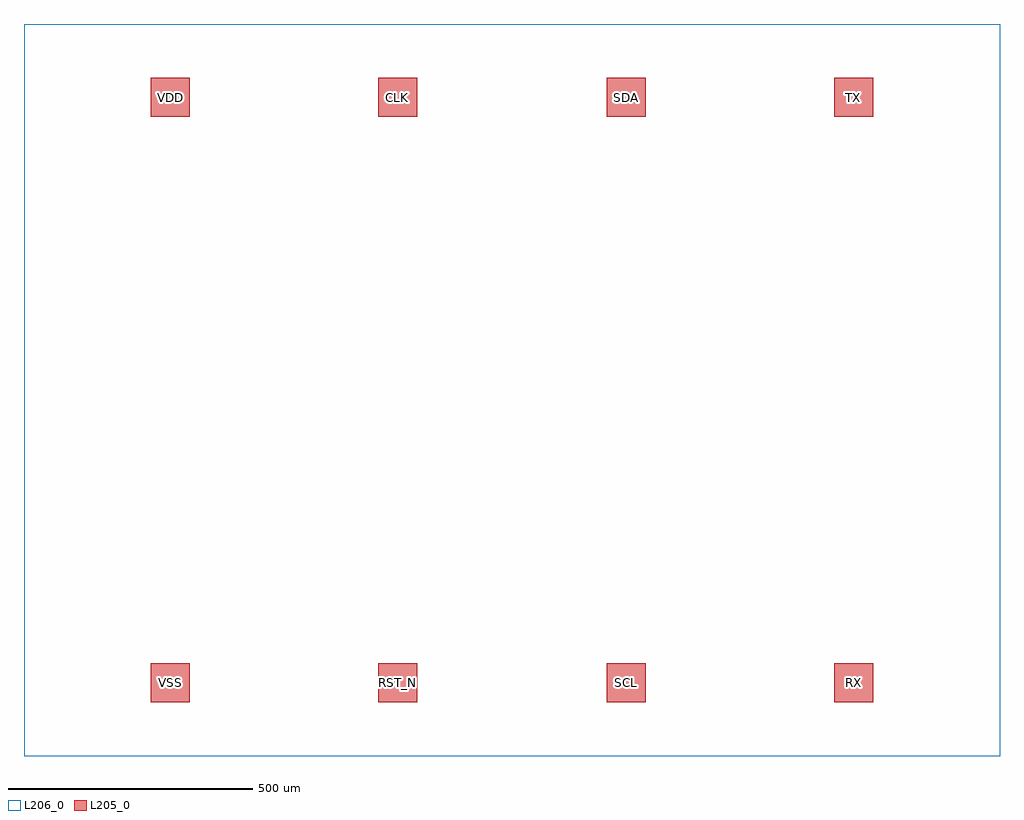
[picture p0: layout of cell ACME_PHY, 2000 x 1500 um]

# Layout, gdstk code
import gdstk
lib = gdstk.Library(unit=1e-6, precision=1e-09)
def R(c, l, rs):  # rectangles x0, y0, x1, y1
    for r in rs: c.add(gdstk.rectangle(r[:2], r[2:], *l))
L205_0 = (205, 0)
L206_0 = (206, 0)

acme_phy = lib.new_cell('ACME_PHY')
R(acme_phy, L205_0, [(-740,-640,-660,-560), (-274,-640,-194,-560), (194,-640,274,-560), (660,-640,740,-560), (-740,560,-660,640), (-274,560,-194,640), (194,560,274,640), (660,560,740,640)])
R(acme_phy, L206_0, [(-1000,-750,1000,750)])
acme_phy.add(gdstk.Label('VDD', (-700,600), layer=205, texttype=25))
acme_phy.add(gdstk.Label('CLK', (-234,600), layer=205, texttype=25))
acme_phy.add(gdstk.Label('SDA', (234,600), layer=205, texttype=25))
acme_phy.add(gdstk.Label('TX', (700,600), layer=205, texttype=25))
acme_phy.add(gdstk.Label('VSS', (-700,-600), layer=205, texttype=25))
acme_phy.add(gdstk.Label('RST_N', (-234,-600), layer=205, texttype=25))
acme_phy.add(gdstk.Label('SCL', (234,-600), layer=205, texttype=25))
acme_phy.add(gdstk.Label('RX', (700,-600), layer=205, texttype=25))

lib.write_gds('ACME_PHY.gds')
